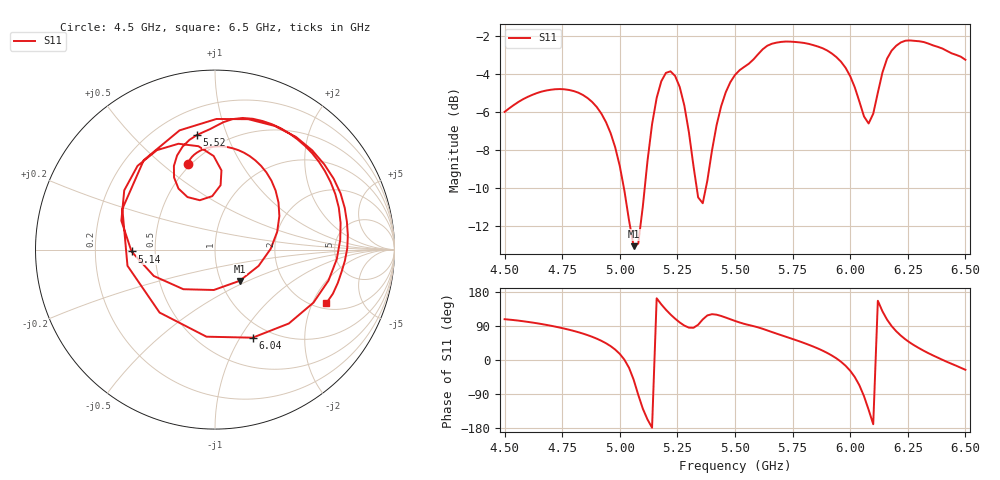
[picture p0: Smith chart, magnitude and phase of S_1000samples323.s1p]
! TOUCHSTONE file generated by CST MICROWAVE STUDIO
! Date and time: Thu Oct 27 18:49:16 2022
! Project name: L.cst
! Parameters = {Di=1.27; Epsilon_r=1.56; InnerDiameter=1.27; Length=2; Lf=10; Lg=60; OuterConductorThickness=0.2921; OuterDiameter=3.6; Wf=3; Wp=41.2; de=1.5; df=6.8; g=0.8; gx=0.563312; gy=1.80988; h=2.34; hf=1.524; px=12.7402; py=10.8637; w=9.7; wx=12.1769; wy=9.05386}
! Header version: 2018
! Port assignment regex: !\s*Touchstone port\s*([0-9]+)\s*=\s*(CST MWS port|CST DS port)\s*([0-9]+|Zmin|Zmax)\s*\(\"(.*)\"\)(\s*mode\s*([0-9]+))?.*
! Touchstone port assignment:
! Touchstone port 1 = CST MWS port 1 ("")
# GHz S DB R 50
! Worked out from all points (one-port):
!   101 points, 4.5 GHz to 6.5 GHz, reference 50 ohm
!   lowest |S11| = -13.1 dB at 5.06 GHz (marker M1), VSWR 1.57, Z = 61.4 - j22.5 ohm
!   |S11| at or under -10 dB: 5.018 GHz to 5.108 GHz (90.7 MHz wide, 1.79 % of centre); 5.334 GHz to 5.374 GHz (39.92 MHz wide, 0.746 % of centre)
!   S11 on the Smith chart (normalised r, x): 4.5 GHz: 0.48, +0.61; 5.14 GHz: 0.37, -0.01; 5.52 GHz: 0.36, +0.79; 6.04 GHz: 0.83, -1.13; 6.5 GHz: 2.25, -2.56
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4.5  -6.00 107.6
4.76  -4.80 82.8
4.9  -5.74 56.3
5  -8.86 16.0
5.06  -13.09 -51.7
5.1  -10.98 -128.6
5.14  -6.65 -178.7
5.16  -5.26 162.9
5.2  -3.94 132.8
5.26  -4.68 99.1
5.3  -7.08 85.3
5.36  -10.82 107.1
5.42  -6.70 119.6
5.5  -4.05 103.1
5.52  -3.79 99.0
5.64  -2.50 78.1
5.76  -2.30 53.3
5.92  -2.91 12.0
6  -4.11 -28.4
6.04  -5.46 -66.9
6.08  -6.61 -131.3
6.1  -6.09 -169.5
6.12  -4.98 156.3
6.14  -3.91 128.5
6.18  -2.76 89.4
6.26  -2.22 45.6
6.36  -2.49 11.9
6.5  -3.24 -25.8
